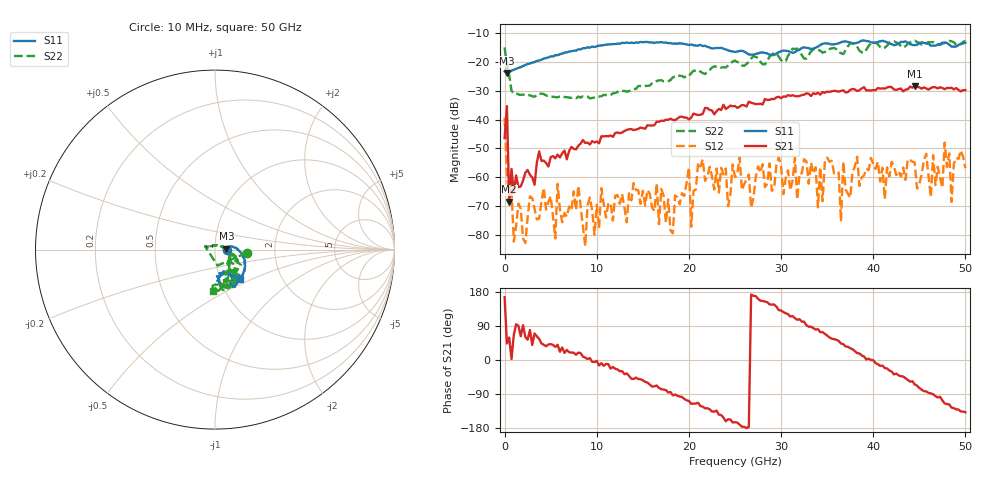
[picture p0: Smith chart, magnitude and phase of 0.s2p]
!Agilent Technologies,E8364C,MY43040239,A.09.42.22
!Agilent E8364C: A.09.42.22
!Date: Sunday, September 14, 2025 22:24:03
!Correction: S11(Full 2 Port(1,2))
!S21(Full 2 Port(1,2))
!S12(Full 2 Port(1,2))
!S22(Full 2 Port(1,2))
!S2P File: Measurements: S11, S21, S12, S22:
# Hz S  RI  R 50
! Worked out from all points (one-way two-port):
!   201 points, 10 MHz to 50 GHz, reference 50 ohm
!   highest |S21| = -28.49 dB at 44.5 GHz (marker M1); lowest = -68.5 dB at 509.9 MHz (marker M2)
!   lowest |S11| = -24.0 dB at 259.9 MHz (marker M3), VSWR 1.14, Z = 56.7 + j0.537 ohm
!   |S11| at or under -10 dB: start of sweep to end of sweep
!   |S22| runs from -32.7 to -12.6 dB; largest |S21 - S12| = 0.039
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1e7  0.0682 -0.00284  -0.00461 0.00117  -0.00947 0.00511  0.1769 -0.0181
2.5995e8  0.0631 0.00471  0.0124 0.0118  0.000146 -0.000985  0.014 -0.0887
5.099e8  0.0654 0.00851  0.000191 0.000322  -0.000562 6.75e-05  -0.0555 0.0188
1.0098e9  0.0717 0.0138  0.000209 0.000489  7.18e-05 2.64e-05  -0.0275 0.00587
4.25915e9  0.1139 0.0101  0.00148 0.00125  -0.000334 -0.000561  -0.0205 0.0186
5.5089e9  0.1303 -0.00105  0.00175 0.0012  4.64e-05 -7.29e-05  -0.0153 0.0192
5.75885e9  0.1309 -0.00514  0.00188 0.00159  0.000713 0.00028  -0.0134 0.0202
8.5083e9  0.1638 -0.0539  0.00436 0.000688  0.000119 6.74e-05  -0.00258 0.0253
1.40072e10  0.1297 -0.1676  0.00418 -0.00506  -0.000699 -0.00037  0.027 0.0207
1.65067e10  0.0898 -0.1997  0.00353 -0.00846  -0.000517 0.00058  0.043 0.0178
1.675665e10  0.0888 -0.199  0.00256 -0.00877  7.39e-05 0.000134  0.0444 0.0174
2.0006e10  0.0424 -0.1916  -0.00311 -0.00956  -0.00117 0.00089  0.0574 -0.00342
2.025595e10  0.0355 -0.1973  -0.00464 -0.00971  -0.000111 8.29e-05  0.0633 -0.00374
2.10058e10  0.0261 -0.1894  -0.00467 -0.011  -0.00119 -0.00133  0.0721 0.000412
2.5005e10  0.0101 -0.1487  -0.0165 -0.00468  -0.000789 -0.000629  0.1021 -0.0247
3.35033e10  0.0945 -0.141  0.00283 0.0285  0.00115 -0.000158  0.1013 -0.1298
3.625275e10  0.1081 -0.1804  0.0194 0.0235  0.000666 -0.00101  0.0984 -0.1096
3.65027e10  0.1119 -0.1885  0.0227 0.0216  -0.000171 4.18e-06  0.0854 -0.113
3.675265e10  0.117 -0.1916  0.024 0.0214  0.00185 0.000236  0.0656 -0.1197
4.175165e10  0.11 -0.1773  0.0327 -0.0171  -0.00103 -7.54e-05  0.0514 -0.2083
4.45011e10  0.0924 -0.1719  0.0162 -0.034  -0.00092 0.00154  0.0568 -0.2269
5e10  0.1402 -0.1617  -0.0239 -0.0217  -0.000132 -0.00143  -0.00856 -0.2307
